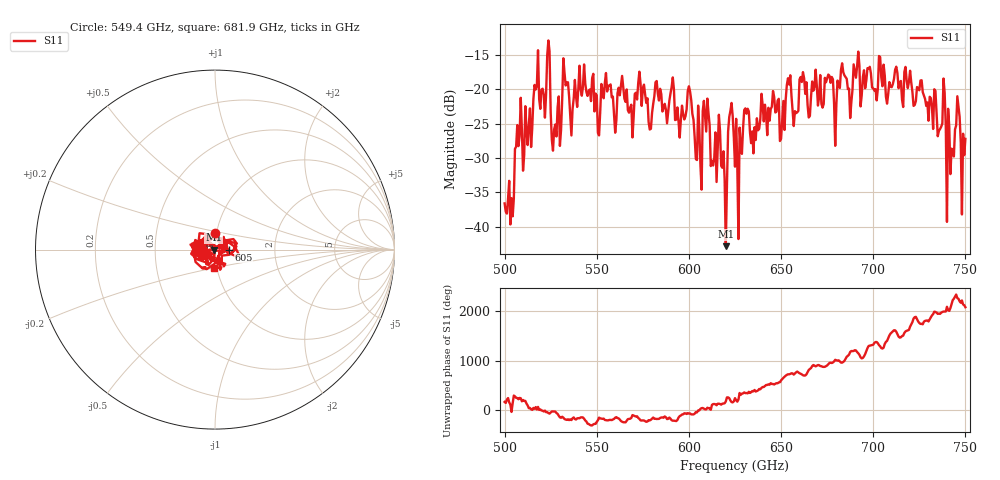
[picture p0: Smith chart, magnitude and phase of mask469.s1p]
!Created with skrf (http://scikit-rf.org).
# GHz S MA R 50.0
!freq magS11 angS11
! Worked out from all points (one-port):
!   401 points, 500 GHz to 750 GHz, reference 50 ohm
!   lowest |S11| = -42.8 dB at 620 GHz (marker M1), VSWR 1.01, Z = 49.3 - j0.0165 ohm
!   |S11| at or under -10 dB: start of sweep to end of sweep
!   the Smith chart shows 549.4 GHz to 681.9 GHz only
!   S11 on the Smith chart (normalised r, x): 549.4 GHz: 0.98, +0.19; 605 GHz: 1.17, +0.00; 681.9 GHz: 0.97, -0.20
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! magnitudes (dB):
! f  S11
! 500 GHz  -36.6
! 516.9 GHz  -20.0
! 523.8 GHz  -12.9
! 526.9 GHz  -25.8
! 531.2 GHz  -21.4
! 549.4 GHz  -20.6
! 562.5 GHz  -20.8
! 579.4 GHz  -25.7
! 590.6 GHz  -19.6
! 593.8 GHz  -22.6
! 600.6 GHz  -20.3
! 605 GHz  -22.4
! 609.4 GHz  -26.1
! 620 GHz  -42.8
! 622.5 GHz  -23.1
! 625 GHz  -31.3
! 627.5 GHz  -25.6
! 631.2 GHz  -23.5
! 635 GHz  -29.3
! 656.2 GHz  -23.1
! 681.9 GHz  -19.8
! 687.5 GHz  -24.2
! 690.6 GHz  -18.3
! 718.8 GHz  -19.8
! 738.1 GHz  -18.4
! 741.2 GHz  -25.5
! 745.6 GHz  -21.0
! 750 GHz  -27.2
